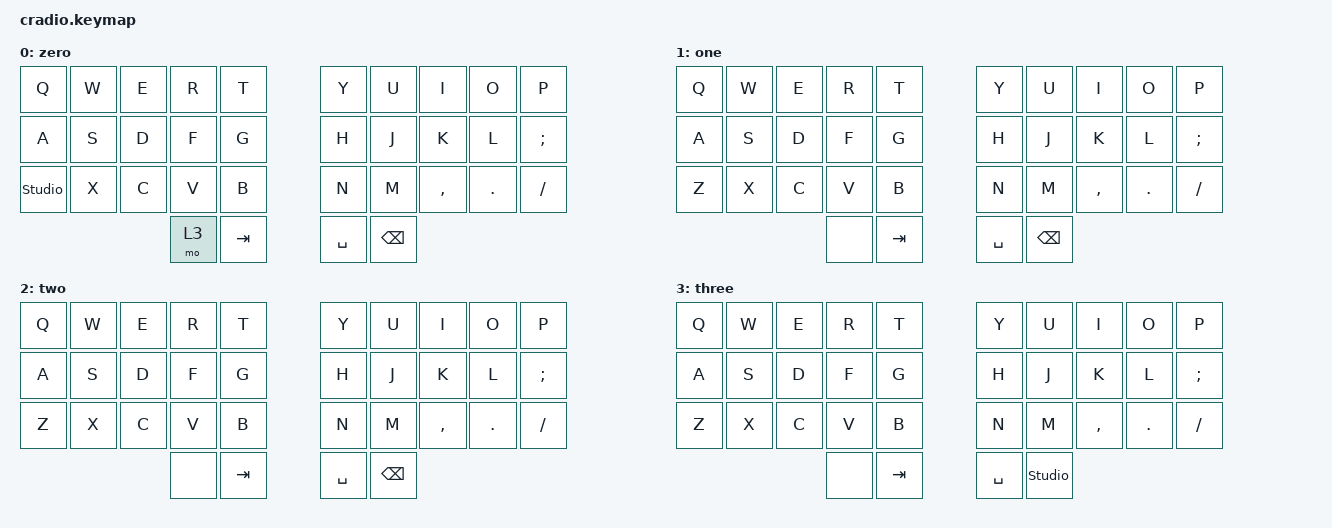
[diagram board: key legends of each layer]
// Copyright (c) 2022 The ZMK Contributors
// SPDX-License-Identifier: MIT

#include <behaviors.dtsi>
#include <dt-bindings/zmk/keys.h>
#include <dt-bindings/zmk/bt.h>

#define MO_TOG(layer) &mo_tog layer layer   // Macro to apply momentary-layer-on-hold/toggle-layer-on-tap to a specific layer

/ {
    behaviors {
        ht: hold_tap {
            compatible = "zmk,behavior-hold-tap";
            #binding-cells = <2>;
            flavor = "tap-preferred";
            tapping-term-ms = <180>;
            quick-tap-ms = <150>;
            require-prior-idle-ms = <100>;
            bindings = <&kp>, <&kp>;
        };

        hml: home_row_mod_left {
            compatible = "zmk,behavior-hold-tap";
            #binding-cells = <2>;
            flavor = "tap-preferred";
            require-prior-idle-ms = <150>;
            tapping-term-ms = <180>;
            quick-tap-ms = <175>;
            bindings = <&kp>, <&kp>;
            hold-trigger-key-positions = < Y U I O P H J K L SEMI N M COMMA DOT SLASH >;
            hold-trigger-on-release;
        };

        hmr: home_row_mod_right {
            compatible = "zmk,behavior-hold-tap";
            #binding-cells = <2>;
            flavor = "tap-preferred";
            require-prior-idle-ms = <150>;
            tapping-term-ms = <180>;
            quick-tap-ms = <175>;
            bindings = <&kp>, <&kp>;
            hold-trigger-key-positions = < Q W E R T A S D F G Z X C V B >;
            hold-trigger-on-release;
        };

        mo_tog: behavior_mo_tog {
            compatible = "zmk,behavior-hold-tap";
            #binding-cells = <2>;
            flavor = "hold-preferred";
            tapping-term-ms = <180>;
            bindings = <&mo>, <&tog>;
        };

        ml_osl: multi_layer_osl {
            compatible = "zmk,behavior-tap-dance";
            label = "MULTIL_OSL";
            #binding-cells = <0>;
            tapping-term-ms = <250>;
            bindings = <&osl 2 2>, <&osl 3 3>;
        };

        ml_sl: multi_layer_sticky {
            compatible = "zmk,behavior-tap-dance";
            label = "MULTIL_SL";
            #binding-cells = <0>;
            tapping-term-ms = <250>;
            bindings = <&mo 2>, <&sl 3>;
        };

        osl: one_shot_layer {
            compatible = "zmk,behavior-hold-tap";
            label = "OSL";
            bindings = <&mo>, <&sl>;
            #binding-cells = <2>;
            tapping-term-ms = <200>;
            quick-tap-ms = <150>;
            require-prior-idle-ms = <100>;
        };

        qESC: qESC {
            compatible = "zmk,behavior-tap-dance";
            label = "QESC";
            #binding-cells = <0>;
            bindings = <&kp Q>, <&kp ESC>;
        };

        slRET: slRET {
            compatible = "zmk,behavior-tap-dance";
            label = "SLRET";
            #binding-cells = <0>;
            bindings = <&kp SLASH>, <&kp RET>;
        };

        l1mod: layer_1_mod {
            compatible = "zmk,behavior-hold-tap";
            label = "L1MOD";
            bindings = <&mo>, <&kp>;
            #binding-cells = <2>;
            tapping-term-ms = <180>;
            quick-tap-ms = <150>;
        };
    };

    macros {
        ctlWW: ctlWW {
            compatible = "zmk,behavior-macro";
            #binding-cells = <0>;
            bindings = <&kp RC(W) &kp RC(W)>;
            label = "CTLWW";
        };
    };

    keymap {
        compatible = "zmk,keymap";

        zero {
            bindings = <
                &kp Q           &kp W     &kp E        &kp R           &kp T      &kp Y      &kp U               &kp I        &kp O       &kp P
                &kp A           &kp S     &kp D        &kp F           &kp G      &kp H      &kp J               &kp K        &kp L       &kp SEMI
                &studio_unlock  &kp X     &kp C        &kp V           &kp B      &kp N      &kp M               &kp COMMA    &kp DOT     &kp SLASH
                                                       &mo 3           &kp TAB    &kp SPACE  &kp BACKSPACE
            >;
        };

        one {
            bindings = <
                &kp Q        &kp W     &kp E        &kp R           &kp T      &kp Y      &kp U               &kp I        &kp O       &kp P
                &kp A        &kp S     &kp D        &kp F           &kp G      &kp H      &kp J               &kp K        &kp L       &kp SEMI
                &kp Z        &kp X     &kp C        &kp V           &kp B      &kp N      &kp M               &kp COMMA    &kp DOT     &kp SLASH
                                                    &none           &kp TAB    &kp SPACE  &kp BACKSPACE
            >;
        };

        two {
            bindings = <
                &kp Q        &kp W     &kp E        &kp R           &kp T      &kp Y      &kp U               &kp I        &kp O       &kp P
                &kp A        &kp S     &kp D        &kp F           &kp G      &kp H      &kp J               &kp K        &kp L       &kp SEMI
                &kp Z        &kp X     &kp C        &kp V           &kp B      &kp N      &kp M               &kp COMMA    &kp DOT     &kp SLASH
                                                    &none           &kp TAB    &kp SPACE  &kp BACKSPACE
            >;
        };

        three {
            bindings = <
                &kp Q        &kp W     &kp E        &kp R           &kp T      &kp Y      &kp U               &kp I        &kp O       &kp P
                &kp A        &kp S     &kp D        &kp F           &kp G      &kp H      &kp J               &kp K        &kp L       &kp SEMI
                &kp Z        &kp X     &kp C        &kp V           &kp B      &kp N      &kp M               &kp COMMA    &kp DOT     &kp SLASH
                                                    &none           &kp TAB    &kp SPACE  &studio_unlock
            >;
        };

        // Empty slots that ZMK Studio can fill with new layers at runtime.
        // Reserved layers are compiled out of the keymap but count toward the
        // layer total, which is what Studio's "add layer" draws from.
        extra1 { status = "reserved"; };
        extra2 { status = "reserved"; };
        extra3 { status = "reserved"; };
        extra4 { status = "reserved"; };
    };
};
